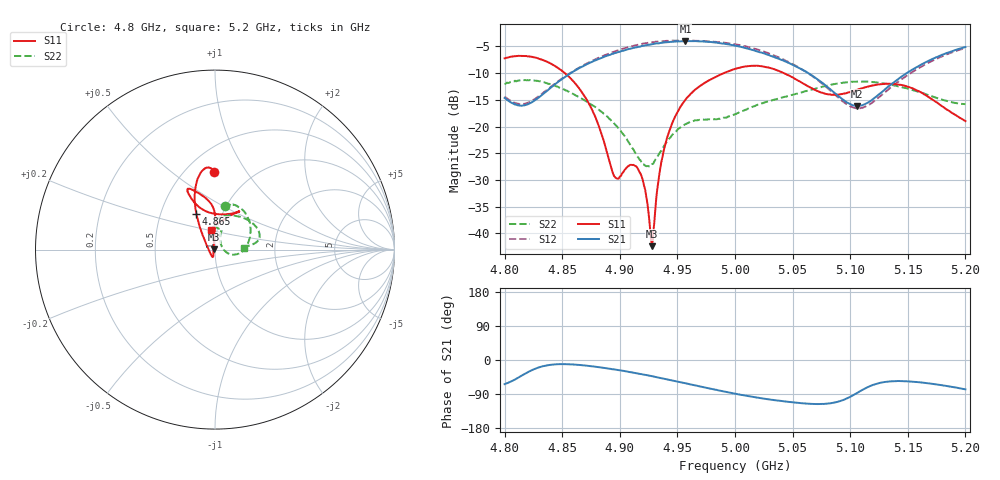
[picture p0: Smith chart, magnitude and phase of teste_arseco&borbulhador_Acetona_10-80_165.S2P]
! Network Analyzer HP8722D
! Hewlett-Packard
! Data name: Linha & Wilkinson
! Saver's name: Rodrigo Anjos
! Comments: Teste da utilização de aquisição
! continua pelo VNA HP8722D
! Time and date: 25/4/2025 16:38
!  Frequency  S11  S21  S12  S22
# HZ  S  MA R 50
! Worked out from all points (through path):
!   401 points, 4.8 GHz to 5.2 GHz, reference 50 ohm
!   highest |S21| = -3.98 dB at 4.957 GHz (marker M1); lowest = -16.1 dB at 5.106 GHz (marker M2)
!   lowest |S11| = -42.4 dB at 4.928 GHz (marker M3), VSWR 1.02, Z = 49.3 + j0.0552 ohm
!   |S11| at or under -10 dB: 4.852 GHz to 4.99 GHz (138 MHz wide, 2.8 % of centre); 5.042 GHz to end of sweep
!   |S22| runs from -27.5 to -11.3 dB; largest |S21 - S12| = 1.2
!   S11 on the Smith chart (normalised r, x): 4.8 GHz: 0.67, +0.72; 4.865 GHz: 0.75, +0.32; 5.2 GHz: 0.94, +0.21
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4.8e9  0.4348 90.9  0.1852 -63.6  0.1904 69.7  0.2481 77.6
4.82e9  0.4544 97.2  0.1613 -32.4  0.1667 98.4  0.272 62.1
4.845e9  0.3614 107.5  0.2545 -11.3  0.2578 119.5  0.2378 34.4
4.865e9  0.2257 117.3  0.3532 -13.1  0.3573 121.0  0.1882 11.1
4.867e9  0.21 118.6  0.363 -13.8  0.3668 120.7  0.1829 8.8
4.88e9  0.1135 128.7  0.4224 -18.2  0.4318 118.3  0.1483 -5.0
4.896e9  0.03339 -168.6  0.4889 -25.4  0.5075 113.2  0.1041 -15.7
4.91e9  0.04376 -108.0  0.5387 -32.5  0.5636 107.2  0.06496 -13.4
4.917e9  0.03759 -105.3  0.5595 -36.3  0.5885 103.6  0.04911 -1.0
4.922e9  0.02566 -109.6  0.5743 -39.0  0.6015 100.7  0.04302 16.7
4.926e9  0.01197 -136.1  0.5851 -41.7  0.6109 98.4  0.04203 33.0
4.928e9  0.007568 175.8  0.5905 -42.8  0.616 97.2  0.0444 40.8
4.934e9  0.03387 100.3  0.601 -46.7  0.6276 93.3  0.05535 58.1
4.943e9  0.0907 91.4  0.6183 -52.4  0.6347 87.5  0.07726 68.3
4.957e9  0.1786 89.6  0.6321 -61.5  0.6381 78.7  0.1054 70.8
5e9  0.3468 109.3  0.5714 -89.0  0.5906 50.8  0.1306 88.3
5.03e9  0.355 115.4  0.4635 -104.2  0.4811 33.8  0.1729 85.4
5.067e9  0.2268 105.5  0.3 -115.8  0.2982 23.6  0.2222 57.1
5.106e9  0.2208 65.1  0.1558 -87.0  0.1479 56.0  0.2634 24.8
5.134e9  0.2519 57.6  0.2409 -56.6  0.2265 88.8  0.2481 12.5
5.169e9  0.1864 70.4  0.4172 -62.1  0.4013 84.8  0.1952 7.0
5.2e9  0.1124 100.8  0.5553 -77.5  0.5433 70.3  0.1617 3.8
